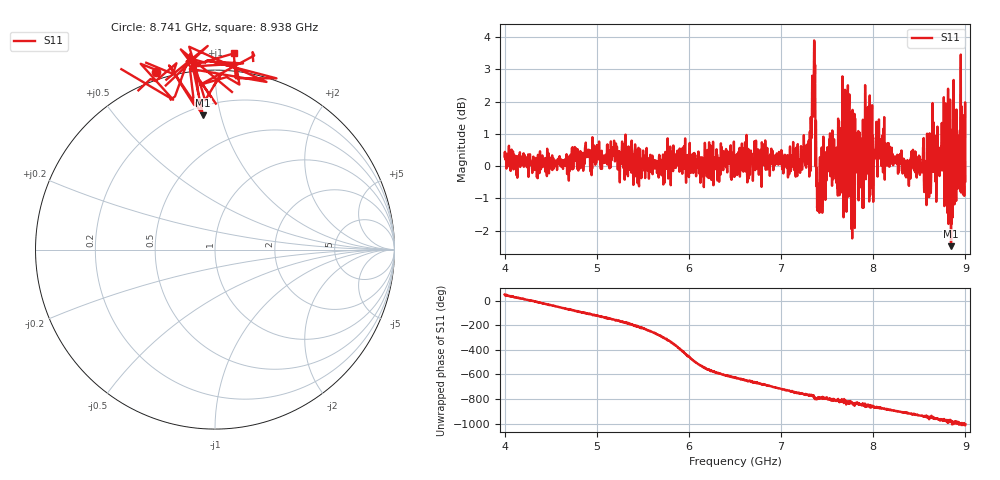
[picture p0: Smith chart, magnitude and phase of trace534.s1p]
! Created with skrf 1.8.0 (http://scikit-rf.org).
# Hz S RI R 50.0
!freq ReS11 ImS11
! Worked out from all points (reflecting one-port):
!   1601 points, 4 GHz to 9 GHz, reference 50 ohm
!   lowest |S11| = -2.5 dB at 8.844 GHz (marker M1), VSWR 7.05, Z = 12.8 + j44.1 ohm
!   phase of S11 starts at 50 deg and turns -1055 deg over the sweep
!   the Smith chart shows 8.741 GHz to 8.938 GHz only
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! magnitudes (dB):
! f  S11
! 4 GHz  0.3
! 4.625 GHz  0.1
! 5.25 GHz  -0.5
! 5.875 GHz  0.5
! 6.5 GHz  0.2
! 7.125 GHz  0.3
! 7.294 GHz  0.1
! 7.347 GHz  2.4
! 7.362 GHz  3.8
! 7.409 GHz  -1.1
! 7.509 GHz  -0.2
! 7.616 GHz  -0.9
! 7.669 GHz  1.5
! 7.75 GHz  1.7
! 7.784 GHz  0.2
! 7.8 GHz  -1.9
! 7.872 GHz  0.4
! 7.928 GHz  1.0
! 7.981 GHz  -0.6
! 8.097 GHz  0.2
! 8.375 GHz  0.0
! 8.603 GHz  0.2
! 8.656 GHz  1.4
! 8.709 GHz  0.0
! 8.788 GHz  -1.2
! 8.844 GHz  -2.5
! 8.972 GHz  0.4
! 9 GHz  -0.5
